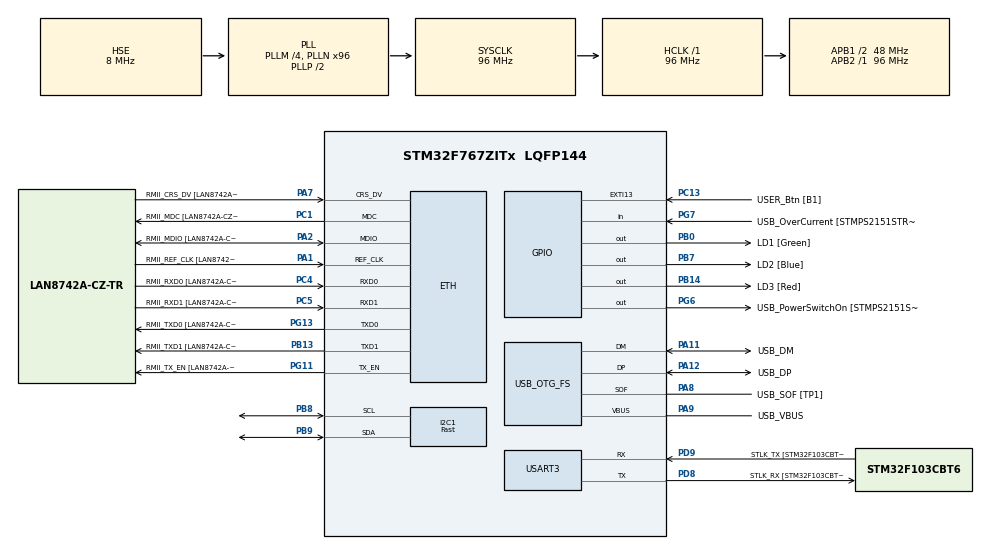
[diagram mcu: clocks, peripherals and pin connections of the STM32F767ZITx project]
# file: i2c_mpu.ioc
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ETH.MediaInterface=HAL_ETH_RMII_MODE
ETH.PHY_Name=LAN8742A_PHY_ADDRESS
ETH.PHY_Value=0
ETH.PhyAddress=0
I2C1.I2C_Speed_Mode=I2C_Fast
I2C1.Timing=0x2010091A
Mcu.Family=STM32F7
Mcu.Name=STM32F767ZITx
Mcu.Package=LQFP144
NVIC.PriorityGroup=NVIC_PRIORITYGROUP_4
PA1.GPIO_Label=RMII_REF_CLK [LAN8742A-CZ-TR_REFCLK0]
PA1.Mode=RMII
PA1.Signal=ETH_REF_CLK
PA10.GPIO_Label=USB_ID
PA10.Signal=USB_OTG_FS_ID
PA11.GPIO_Label=USB_DM
PA11.Mode=Device_Only
PA11.Signal=USB_OTG_FS_DM
PA12.GPIO_Label=USB_DP
PA12.Mode=Device_Only
PA12.Signal=USB_OTG_FS_DP
PA13.GPIO_Label=TMS
PA13.Mode=Serial_Wire
PA13.Signal=SYS_JTMS-SWDIO
PA14.GPIO_Label=TCK
PA14.Mode=Serial_Wire
PA14.Signal=SYS_JTCK-SWCLK
PA2.GPIO_Label=RMII_MDIO [LAN8742A-CZ-TR_MDIO]
PA2.Mode=RMII
PA2.Signal=ETH_MDIO
PA7.GPIO_Label=RMII_CRS_DV [LAN8742A-CZ-TR_CRS_DV]
PA7.Mode=RMII
PA7.Signal=ETH_CRS_DV
PA8.GPIO_Label=USB_SOF [TP1]
PA8.Mode=Activate_SOF_FS
PA8.Signal=USB_OTG_FS_SOF
PA9.GPIO_Label=USB_VBUS
PA9.Mode=Activate_VBUS
PA9.Signal=USB_OTG_FS_VBUS
PB0.GPIO_Label=LD1 [Green]
PB0.Signal=GPIO_Output
PB13.GPIO_Label=RMII_TXD1 [LAN8742A-CZ-TR_TXD1]
PB13.Mode=RMII
PB13.Signal=ETH_TXD1
PB14.GPIO_Label=LD3 [Red]
PB14.Signal=GPIO_Output
PB3.GPIO_Label=SWO
PB3.Signal=SYS_JTDO-SWO
PB7.GPIO_Label=LD2 [Blue]
PB7.Signal=GPIO_Output
PB8.GPIO_Pu=GPIO_PULLUP
PB8.Mode=I2C
PB8.Signal=I2C1_SCL
PB9.GPIO_Pu=GPIO_PULLUP
PB9.Mode=I2C
PB9.Signal=I2C1_SDA
PC1.GPIO_Label=RMII_MDC [LAN8742A-CZ-TR_MDC]
PC1.Mode=RMII
PC1.Signal=ETH_MDC
PC13.GPIO_Label=USER_Btn [B1]
PC13.Signal=GPXTI13
PC14/OSC32_IN.Mode=LSE-External-Oscillator
PC14/OSC32_IN.Signal=RCC_OSC32_IN
PC15/OSC32_OUT.Mode=LSE-External-Oscillator
PC15/OSC32_OUT.Signal=RCC_OSC32_OUT
PC4.GPIO_Label=RMII_RXD0 [LAN8742A-CZ-TR_RXD0]
PC4.Mode=RMII
PC4.Signal=ETH_RXD0
PC5.GPIO_Label=RMII_RXD1 [LAN8742A-CZ-TR_RXD1]
PC5.Mode=RMII
PC5.Signal=ETH_RXD1
PD8.GPIO_Label=STLK_RX [STM32F103CBT6_PA3]
PD8.Mode=Asynchronous
PD8.Signal=USART3_TX
PD9.GPIO_Label=STLK_TX [STM32F103CBT6_PA2]
PD9.Mode=Asynchronous
PD9.Signal=USART3_RX
PG11.GPIO_Label=RMII_TX_EN [LAN8742A-CZ-TR_TXEN]
PG11.Mode=RMII
PG11.Signal=ETH_TX_EN
PG13.GPIO_Label=RMII_TXD0 [LAN8742A-CZ-TR_TXD0]
PG13.Mode=RMII
PG13.Signal=ETH_TXD0
PG6.GPIO_Label=USB_PowerSwitchOn [STMPS2151STR_EN]
PG6.Signal=GPIO_Output
PG7.GPIO_Label=USB_OverCurrent [STMPS2151STR_FAULT]
PG7.Signal=GPIO_Input
PH0/OSC_IN.GPIO_Label=MCO [STM32F103CBT6_PA8]
PH0/OSC_IN.Mode=HSE-External-Clock-Source
PH0/OSC_IN.Signal=RCC_OSC_IN
PH1/OSC_OUT.Mode=HSE-External-Clock-Source
PH1/OSC_OUT.Signal=RCC_OSC_OUT
ProjectManager.HeapSize=0x200
ProjectManager.StackSize=0x400
ProjectManager.TargetToolchain=STM32CubeIDE
RCC.48MHZClocksFreq_Value=24000000
RCC.AHBFreq_Value=96000000
RCC.APB1CLKDivider=RCC_HCLK_DIV2
RCC.APB1Freq_Value=48000000
RCC.APB1TimFreq_Value=96000000
RCC.APB2Freq_Value=96000000
RCC.APB2TimFreq_Value=96000000
RCC.CortexFreq_Value=96000000
RCC.HCLKFreq_Value=96000000
RCC.HSE_VALUE=8000000
RCC.HSI_VALUE=16000000
RCC.PLLM=4
RCC.PLLMUL=RCC_PLL_MUL9
RCC.PLLN=96
RCC.PLLQ=4
RCC.PRESCALERUSB=RCC_USBCLKSOURCE_PLL_DIV1_5
RCC.SYSCLKFreq_VALUE=96000000
RCC.SYSCLKSource=RCC_SYSCLKSOURCE_PLLCLK
RCC.SYSCLKSourceVirtual=RCC_SYSCLKSOURCE_PLLCLK
RCC.USBFreq_Value=48000000
RCC.VCOOutputFreq_Value=192000000
USART3.VirtualMode-Asynchronous=VM_ASYNC
USB_OTG_FS.VirtualMode=Device_Only
board=NUCLEO-F767ZI

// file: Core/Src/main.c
/* USER CODE BEGIN Header */
/**
  ******************************************************************************
  * @file           : main.c
  * @brief          : Main program body
  ******************************************************************************
  * @attention
  *
  * Copyright (c) 2026 STMicroelectronics.
  * All rights reserved.
  *
  * This software is licensed under terms that can be found in the LICENSE file
  * in the root directory of this software component.
  * If no LICENSE file comes with this software, it is provided AS-IS.
  *
  ******************************************************************************
  */
/* USER CODE END Header */
#include "main.h"
#include "string.h"

/* USER CODE BEGIN Includes */
#include "stdio.h"
#include "math.h"
#include "MPU6050.h"
#include "ssd1306.h"
#include "ssd1306_fonts.h"
#include "sprites.h"
/* USER CODE END Includes */

/* USER CODE BEGIN PD */
#define RAD_TO_DEG 57.2957795131
#define ALPHA 0.98
#define DT 0.1
/* USER CODE END PD */

#if defined ( __ICCARM__ ) /*!< IAR Compiler */
#pragma location=0x2007c000
ETH_DMADescTypeDef  DMARxDscrTab[ETH_RX_DESC_CNT]; /* Ethernet Rx DMA Descriptors */
#pragma location=0x2007c0a0
ETH_DMADescTypeDef  DMATxDscrTab[ETH_TX_DESC_CNT]; /* Ethernet Tx DMA Descriptors */

#elif defined ( __CC_ARM )  /* MDK ARM Compiler */

__attribute__((at(0x2007c000))) ETH_DMADescTypeDef  DMARxDscrTab[ETH_RX_DESC_CNT]; /* Ethernet Rx DMA Descriptors */
__attribute__((at(0x2007c0a0))) ETH_DMADescTypeDef  DMATxDscrTab[ETH_TX_DESC_CNT]; /* Ethernet Tx DMA Descriptors */

#elif defined ( __GNUC__ ) /* GNU Compiler */

ETH_DMADescTypeDef DMARxDscrTab[ETH_RX_DESC_CNT] __attribute__((section(".RxDecripSection"))); /* Ethernet Rx DMA Descriptors */
ETH_DMADescTypeDef DMATxDscrTab[ETH_TX_DESC_CNT] __attribute__((section(".TxDecripSection")));   /* Ethernet Tx DMA Descriptors */
#endif

ETH_TxPacketConfig TxConfig;

ETH_HandleTypeDef heth;

I2C_HandleTypeDef hi2c1;

UART_HandleTypeDef huart3;

PCD_HandleTypeDef hpcd_USB_OTG_FS;

/* USER CODE BEGIN PV */
float ax, ay, az;
float gx, gy, gz;

float pitch = 0.0;
float roll  = 0.0;
float yaw   = 0.0;
float gz_offset = 0;
/* USER CODE END PV */

void SystemClock_Config(void);
static void MX_GPIO_Init(void);
static void MX_ETH_Init(void);
static void MX_USART3_UART_Init(void);
static void MX_USB_OTG_FS_PCD_Init(void);
static void MX_I2C1_Init(void);

/* USER CODE BEGIN 0 */
const uint8_t* Get_Plane_Sprite(float p, float r, float y) {
    float yaw_norm = fmod(y, 360.0);
    if (yaw_norm > 180.0) yaw_norm -= 360.0;
    if (yaw_norm < -180.0) yaw_norm += 360.0;

    int is_up = (p >= 0.0);

    if (yaw_norm > -22.5 && yaw_norm <= 22.5)   return is_up ? NU  : ND;
    if (yaw_norm > 22.5 && yaw_norm <= 67.5)    return is_up ? NEU : NED;
    if (yaw_norm > 67.5 && yaw_norm <= 112.5)   return is_up ? EU  : ED;
    if (yaw_norm > 112.5 && yaw_norm <= 157.5)  return is_up ? SEU : SED;
    if (yaw_norm > 157.5 || yaw_norm <= -157.5) return is_up ? SU  : SD;
    if (yaw_norm > -157.5 && yaw_norm <= -112.5)return is_up ? SWU : SWD;
    if (yaw_norm > -112.5 && yaw_norm <= -67.5) return is_up ? WU  : WD;
    if (yaw_norm > -67.5 && yaw_norm <= -22.5)  return is_up ? NWU : NWD;

    return NU;
}
/* USER CODE END 0 */

int main(void)
{

  /* MCU Configuration--------------------------------------------------------*/

  /* Reset of all peripherals, Initializes the Flash interface and the Systick. */
  HAL_Init();

  /* Configure the system clock */
  SystemClock_Config();

  /* Initialize all configured peripherals */
  MX_GPIO_Init();
  MX_ETH_Init();
  MX_USART3_UART_Init();
  MX_USB_OTG_FS_PCD_Init();
  MX_I2C1_Init();
  /* USER CODE BEGIN 2 */
  MX_I2C1_Init();
  MPU6050_init();

  ssd1306_Init();
  ssd1306_Fill(0);
  ssd1306_UpdateScreen();
  char buffer[32];
  int display_timer = 0;

  float sum = 0;

  for(int i = 0; i < 200; i++)
  {
      float tx, ty, tz;
      MPU6050_Read_Gyro(&tx, &ty, &tz);
      sum += tz;
      HAL_Delay(5);
  }

  gz_offset = sum / 200.0;
  /* USER CODE END 2 */

  /* Infinite loop */
  while (1)
  {

    /* USER CODE BEGIN 3 */
	  MPU6050_Read_Accel(&ax, &ay, &az);
	      MPU6050_Read_Gyro(&gx, &gy, &gz);
	      // trocar pitch ↔ roll
	      float temp;

	      // giroscópio
	      temp = gx;
	      gx = gy;
	      gy = temp;

	      // acelerômetro
	      temp = ax;
	      ax = ay;
	      ay = temp;
	      //offset
	      gz = gz - gz_offset;
	      //zona morta
	      if (fabs(gz) < 0.5) gz = 0;
	      // inversões
	      gx = -gx;
	      gy = -gy;
	      gz = -gz;

	      float accel_pitch = atan2(ax, sqrt(ay * ay + az * az)) * RAD_TO_DEG;
	      float accel_roll  = atan2(ay, sqrt(ax * ax + az * az)) * RAD_TO_DEG;

	      pitch = ALPHA * (pitch + gx * DT) + (1.0 - ALPHA) * accel_pitch;
	      roll  = ALPHA * (roll  + gy * DT) + (1.0 - ALPHA) * accel_roll;
	      yaw   = yaw + gz * DT;

	      display_timer++;
	      if(display_timer >= 60) display_timer = 0;

	      ssd1306_Fill(0);

	      if (display_timer < 30)
	      {
	          const uint8_t *current_sprite = Get_Plane_Sprite(pitch, roll, yaw);
	          ssd1306_DrawBitmap(34, 2, current_sprite, 60, 60, 1);
	      }
	      else
	      {
	    	  sprintf(buffer, "R:%3.0f P:%3.0f Y:%3.0f", roll, pitch, fmod(yaw, 360.0));
	          ssd1306_SetCursor(2, 2);
	          ssd1306_WriteString(buffer, Font_7x10, 1);

	          sprintf(buffer, "A:%.1f %.1f %.1f", ax, ay, az);
	          ssd1306_SetCursor(2, 16);
	          ssd1306_WriteString(buffer, Font_7x10, 1);

	          sprintf(buffer, "G:%.0f %.0f %.0f", gx, gy, gz);
	          ssd1306_SetCursor(2, 30);
	          ssd1306_WriteString(buffer, Font_7x10, 1);
	      }

	      ssd1306_UpdateScreen();

	      HAL_Delay(100);
  }
  /* USER CODE END 3 */
}

void SystemClock_Config(void)
{
  RCC_OscInitTypeDef RCC_OscInitStruct = {0};
  RCC_ClkInitTypeDef RCC_ClkInitStruct = {0};

  /** Configure LSE Drive Capability
  */
  HAL_PWR_EnableBkUpAccess();

  /** Configure the main internal regulator output voltage
  */
  __HAL_RCC_PWR_CLK_ENABLE();
  __HAL_PWR_VOLTAGESCALING_CONFIG(PWR_REGULATOR_VOLTAGE_SCALE3);

  /** Initializes the RCC Oscillators according to the specified parameters
  * in the RCC_OscInitTypeDef structure.
  */
  RCC_OscInitStruct.OscillatorType = RCC_OSCILLATORTYPE_HSE;
  RCC_OscInitStruct.HSEState = RCC_HSE_BYPASS;
  RCC_OscInitStruct.PLL.PLLState = RCC_PLL_ON;
  RCC_OscInitStruct.PLL.PLLSource = RCC_PLLSOURCE_HSE;
  RCC_OscInitStruct.PLL.PLLM = 4;
  RCC_OscInitStruct.PLL.PLLN = 96;
  RCC_OscInitStruct.PLL.PLLP = RCC_PLLP_DIV2;
  RCC_OscInitStruct.PLL.PLLQ = 4;
  RCC_OscInitStruct.PLL.PLLR = 2;
  if (HAL_RCC_OscConfig(&RCC_OscInitStruct) != HAL_OK)
  {
    Error_Handler();
  }

  /** Activate the Over-Drive mode
  */
  if (HAL_PWREx_EnableOverDrive() != HAL_OK)
  {
    Error_Handler();
  }

  /** Initializes the CPU, AHB and APB buses clocks
  */
  RCC_ClkInitStruct.ClockType = RCC_CLOCKTYPE_HCLK|RCC_CLOCKTYPE_SYSCLK
                              |RCC_CLOCKTYPE_PCLK1|RCC_CLOCKTYPE_PCLK2;
  RCC_ClkInitStruct.SYSCLKSource = RCC_SYSCLKSOURCE_PLLCLK;
  RCC_ClkInitStruct.AHBCLKDivider = RCC_SYSCLK_DIV1;
  RCC_ClkInitStruct.APB1CLKDivider = RCC_HCLK_DIV2;
  RCC_ClkInitStruct.APB2CLKDivider = RCC_HCLK_DIV1;

  if (HAL_RCC_ClockConfig(&RCC_ClkInitStruct, FLASH_LATENCY_3) != HAL_OK)
  {
    Error_Handler();
  }
}

static void MX_ETH_Init(void)
{

   static uint8_t MACAddr[6];

  heth.Instance = ETH;
  MACAddr[0] = 0x00;
  MACAddr[1] = 0x80;
  MACAddr[2] = 0xE1;
  MACAddr[3] = 0x00;
  MACAddr[4] = 0x00;
  MACAddr[5] = 0x00;
  heth.Init.MACAddr = &MACAddr[0];
  heth.Init.MediaInterface = HAL_ETH_RMII_MODE;
  heth.Init.TxDesc = DMATxDscrTab;
  heth.Init.RxDesc = DMARxDscrTab;
  heth.Init.RxBuffLen = 1524;

  if (HAL_ETH_Init(&heth) != HAL_OK)
  {
    Error_Handler();
  }

  memset(&TxConfig, 0 , sizeof(ETH_TxPacketConfig));
  TxConfig.Attributes = ETH_TX_PACKETS_FEATURES_CSUM | ETH_TX_PACKETS_FEATURES_CRCPAD;
  TxConfig.ChecksumCtrl = ETH_CHECKSUM_IPHDR_PAYLOAD_INSERT_PHDR_CALC;
  TxConfig.CRCPadCtrl = ETH_CRC_PAD_INSERT;

}

static void MX_I2C1_Init(void)
{

  hi2c1.Instance = I2C1;
  hi2c1.Init.Timing = 0x2010091A;
  hi2c1.Init.OwnAddress1 = 0;
  hi2c1.Init.AddressingMode = I2C_ADDRESSINGMODE_7BIT;
  hi2c1.Init.DualAddressMode = I2C_DUALADDRESS_DISABLE;
  hi2c1.Init.OwnAddress2 = 0;
  hi2c1.Init.OwnAddress2Masks = I2C_OA2_NOMASK;
  hi2c1.Init.GeneralCallMode = I2C_GENERALCALL_DISABLE;
  hi2c1.Init.NoStretchMode = I2C_NOSTRETCH_DISABLE;
  if (HAL_I2C_Init(&hi2c1) != HAL_OK)
  {
    Error_Handler();
  }

  /** Configure Analogue filter
  */
  if (HAL_I2CEx_ConfigAnalogFilter(&hi2c1, I2C_ANALOGFILTER_ENABLE) != HAL_OK)
  {
    Error_Handler();
  }

  /** Configure Digital filter
  */
  if (HAL_I2CEx_ConfigDigitalFilter(&hi2c1, 0) != HAL_OK)
  {
    Error_Handler();
  }

}

static void MX_USART3_UART_Init(void)
{

  huart3.Instance = USART3;
  huart3.Init.BaudRate = 115200;
  huart3.Init.WordLength = UART_WORDLENGTH_8B;
  huart3.Init.StopBits = UART_STOPBITS_1;
  huart3.Init.Parity = UART_PARITY_NONE;
  huart3.Init.Mode = UART_MODE_TX_RX;
  huart3.Init.HwFlowCtl = UART_HWCONTROL_NONE;
  huart3.Init.OverSampling = UART_OVERSAMPLING_16;
  huart3.Init.OneBitSampling = UART_ONE_BIT_SAMPLE_DISABLE;
  huart3.AdvancedInit.AdvFeatureInit = UART_ADVFEATURE_NO_INIT;
  if (HAL_UART_Init(&huart3) != HAL_OK)
  {
    Error_Handler();
  }

}

static void MX_USB_OTG_FS_PCD_Init(void)
{

  hpcd_USB_OTG_FS.Instance = USB_OTG_FS;
  hpcd_USB_OTG_FS.Init.dev_endpoints = 6;
  hpcd_USB_OTG_FS.Init.speed = PCD_SPEED_FULL;
  hpcd_USB_OTG_FS.Init.dma_enable = DISABLE;
  hpcd_USB_OTG_FS.Init.phy_itface = PCD_PHY_EMBEDDED;
  hpcd_USB_OTG_FS.Init.Sof_enable = ENABLE;
  hpcd_USB_OTG_FS.Init.low_power_enable = DISABLE;
  hpcd_USB_OTG_FS.Init.lpm_enable = DISABLE;
  hpcd_USB_OTG_FS.Init.vbus_sensing_enable = ENABLE;
  hpcd_USB_OTG_FS.Init.use_dedicated_ep1 = DISABLE;
  if (HAL_PCD_Init(&hpcd_USB_OTG_FS) != HAL_OK)
  {
    Error_Handler();
  }

}

static void MX_GPIO_Init(void)
{
  GPIO_InitTypeDef GPIO_InitStruct = {0};

  /* GPIO Ports Clock Enable */
  __HAL_RCC_GPIOC_CLK_ENABLE();
  __HAL_RCC_GPIOH_CLK_ENABLE();
  __HAL_RCC_GPIOA_CLK_ENABLE();
  __HAL_RCC_GPIOB_CLK_ENABLE();
  __HAL_RCC_GPIOD_CLK_ENABLE();
  __HAL_RCC_GPIOG_CLK_ENABLE();

  /*Configure GPIO pin Output Level */
  HAL_GPIO_WritePin(GPIOB, LD1_Pin|LD3_Pin|LD2_Pin, GPIO_PIN_RESET);

  /*Configure GPIO pin Output Level */
  HAL_GPIO_WritePin(USB_PowerSwitchOn_GPIO_Port, USB_PowerSwitchOn_Pin, GPIO_PIN_RESET);

  /*Configure GPIO pin : USER_Btn_Pin */
  GPIO_InitStruct.Pin = USER_Btn_Pin;
  GPIO_InitStruct.Mode = GPIO_MODE_IT_RISING;
  GPIO_InitStruct.Pull = GPIO_NOPULL;
  HAL_GPIO_Init(USER_Btn_GPIO_Port, &GPIO_InitStruct);

  /*Configure GPIO pins : LD1_Pin LD3_Pin LD2_Pin */
  GPIO_InitStruct.Pin = LD1_Pin|LD3_Pin|LD2_Pin;
  GPIO_InitStruct.Mode = GPIO_MODE_OUTPUT_PP;
  GPIO_InitStruct.Pull = GPIO_NOPULL;
  GPIO_InitStruct.Speed = GPIO_SPEED_FREQ_LOW;
  HAL_GPIO_Init(GPIOB, &GPIO_InitStruct);

  /*Configure GPIO pin : USB_PowerSwitchOn_Pin */
  GPIO_InitStruct.Pin = USB_PowerSwitchOn_Pin;
  GPIO_InitStruct.Mode = GPIO_MODE_OUTPUT_PP;
  GPIO_InitStruct.Pull = GPIO_NOPULL;
  GPIO_InitStruct.Speed = GPIO_SPEED_FREQ_LOW;
  HAL_GPIO_Init(USB_PowerSwitchOn_GPIO_Port, &GPIO_InitStruct);

  /*Configure GPIO pin : USB_OverCurrent_Pin */
  GPIO_InitStruct.Pin = USB_OverCurrent_Pin;
  GPIO_InitStruct.Mode = GPIO_MODE_INPUT;
  GPIO_InitStruct.Pull = GPIO_NOPULL;
  HAL_GPIO_Init(USB_OverCurrent_GPIO_Port, &GPIO_InitStruct);

}

void Error_Handler(void)
{
  __disable_irq();
  while (1)
  {
  }
}
